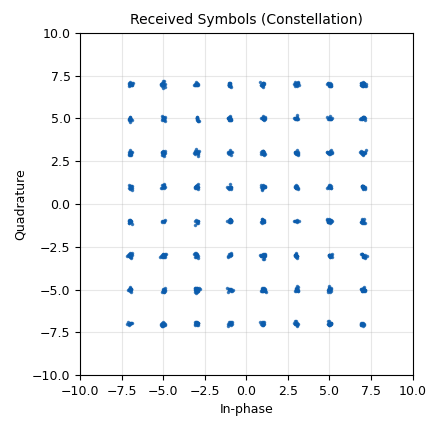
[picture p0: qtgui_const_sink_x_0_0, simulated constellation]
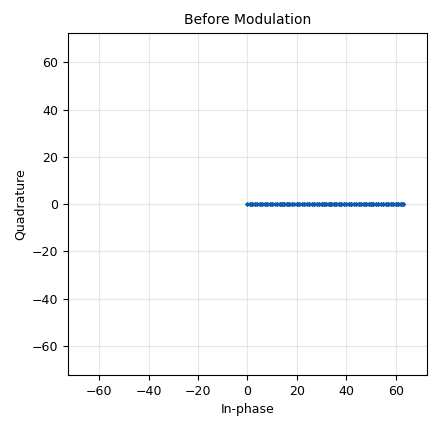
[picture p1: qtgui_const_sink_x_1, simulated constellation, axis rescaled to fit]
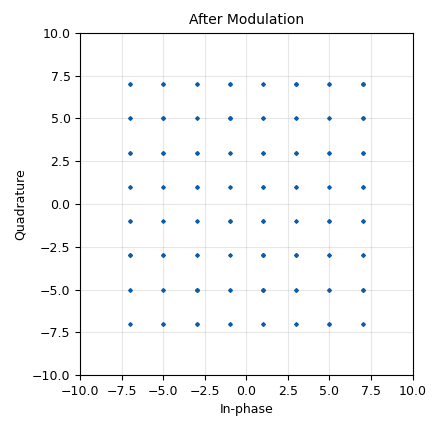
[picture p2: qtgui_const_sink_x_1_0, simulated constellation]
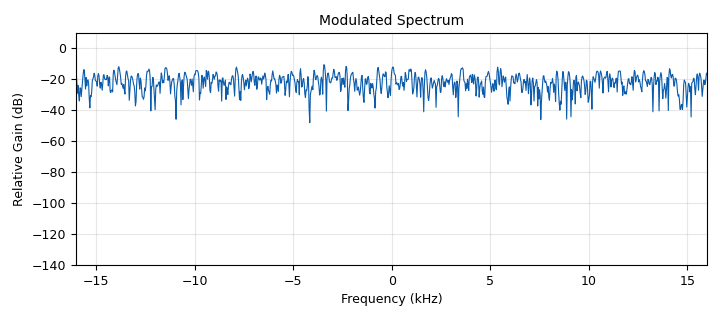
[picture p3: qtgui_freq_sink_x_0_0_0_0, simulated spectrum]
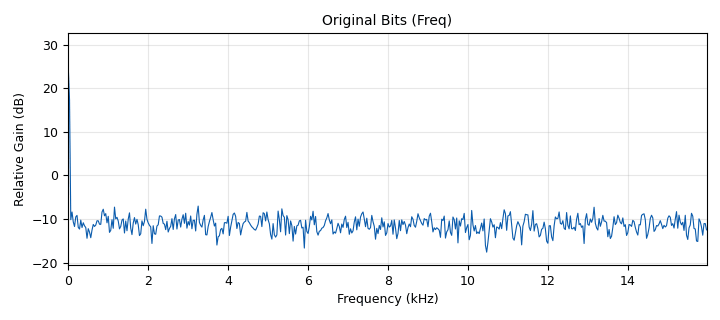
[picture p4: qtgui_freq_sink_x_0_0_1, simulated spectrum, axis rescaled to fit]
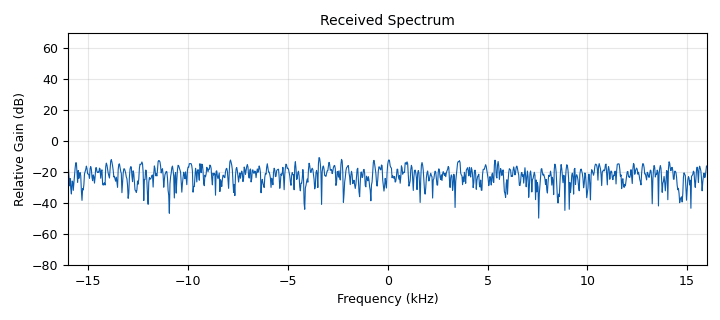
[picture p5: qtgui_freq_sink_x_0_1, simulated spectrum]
options:
  parameters:
    author: mfb36
    generate_options: qt_gui
    id: QAM_64_try_2
    output_language: python
    title: Not titled yet
  states: {}

blocks:
- name: noise_var
  id: variable_qtgui_range
  parameters:
    gui_hint: 0,0,1,6
    label: Noise Level
    start: '0'
    step: '0.01'
    stop: '1'
    value: '0.1'
  states: {}
- name: samp_rate
  id: variable
  parameters:
    value: '32000'
  states: {}
- name: analog_noise_source_x_0_0
  id: analog_noise_source_x
  parameters:
    amp: noise_var
    noise_type: analog.GR_GAUSSIAN
    seed: '0'
    type: complex
  states: {}
- name: analog_random_source_x_0_0
  id: analog_random_source_x
  parameters:
    max: '64'
    min: '0'
    num_samps: '10000'
    repeat: 'True'
    type: byte
  states: {}
- name: blocks_add_xx_0_0
  id: blocks_add_xx
  parameters:
    type: complex
  states: {}
- name: blocks_complex_to_mag_squared_0_0_0
  id: blocks_complex_to_mag_squared
  parameters: {}
  states: {}
- name: blocks_complex_to_mag_squared_0_1
  id: blocks_complex_to_mag_squared
  parameters: {}
  states: {}
- name: blocks_complex_to_real_1
  id: blocks_complex_to_real
  parameters: {}
  states: {state: disabled}
- name: blocks_divide_xx_0_0
  id: blocks_divide_xx
  parameters:
    type: float
  states: {}
- name: blocks_float_to_complex_2_0
  id: blocks_float_to_complex
  parameters: {}
  states: {}
- name: blocks_moving_average_xx_0_0
  id: blocks_moving_average_xx
  parameters:
    length: '1000'
    max_iter: '1'
    scale: '1'
    type: float
  states: {}
- name: blocks_nlog10_ff_0_0
  id: blocks_nlog10_ff
  parameters:
    k: '0'
  states: {}
- name: blocks_throttle2_0_0
  id: blocks_throttle2
  parameters:
    samples_per_second: samp_rate
    type: byte
  states: {}
- name: blocks_uchar_to_float_0_0
  id: blocks_uchar_to_float
  parameters: {}
  states: {state: disabled}
- name: blocks_uchar_to_float_2_0
  id: blocks_uchar_to_float
  parameters: {}
  states: {}
- name: channels_channel_model_0_0
  id: channels_channel_model
  parameters:
    epsilon: '1'
    freq_offset: '0.0'
    noise_voltage: '0'
    seed: '0'
    taps: '1'
  states: {}
- name: digital_binary_slicer_fb_0_0
  id: digital_binary_slicer_fb
  parameters: {}
  states: {state: disabled}
- name: digital_chunks_to_symbols_xx_0_0
  id: digital_chunks_to_symbols_xx
  parameters:
    dimension: '1'
    in_type: byte
    out_type: complex
    symbol_table: |
      [(-7-7j), (-7-5j), (-7-3j), (-7-1j), (-7+1j), (-7+3j), (-7+5j), (-7+7j),
       (-5-7j), (-5-5j), (-5-3j), (-5-1j), (-5+1j), (-5+3j), (-5+5j), (-5+7j),
       (-3-7j), (-3-5j), (-3-3j), (-3-1j), (-3+1j), (-3+3j), (-3+5j), (-3+7j),
       (-1-7j), (-1-5j), (-1-3j), (-1-1j), (-1+1j), (-1+3j), (-1+5j), (-1+7j),
       ( 1-7j), ( 1-5j), ( 1-3j), ( 1-1j), ( 1+1j), ( 1+3j), ( 1+5j), ( 1+7j),
       ( 3-7j), ( 3-5j), ( 3-3j), ( 3-1j), ( 3+1j), ( 3+3j), ( 3+5j), ( 3+7j),
       ( 5-7j), ( 5-5j), ( 5-3j), ( 5-1j), ( 5+1j), ( 5+3j), ( 5+5j), ( 5+7j),
       ( 7-7j), ( 7-5j), ( 7-3j), ( 7-1j), ( 7+1j), ( 7+3j), ( 7+5j), ( 7+7j)]
  states: {}
- name: fec_ber_bf_0_0
  id: fec_ber_bf
  parameters:
    berlimit: '-7'
    test_mode: 'False'
  states: {state: disabled}
- name: probe_rx_0
  id: blocks_probe_signal_x
  parameters:
    type: complex
  states: {}
- name: probe_tx_0
  id: blocks_probe_signal_x
  parameters:
    type: complex
  states: {}
- name: qtgui_const_sink_x_0_0
  id: qtgui_const_sink_x
  parameters:
    gui_hint: 6,4,1,2
    name: Received Symbols (Constellation)
    size: '1024'
    type: complex
    xmax: '10'
    xmin: '-10'
    ymax: '10'
    ymin: '-10'
  states: {}
- name: qtgui_const_sink_x_1
  id: qtgui_const_sink_x
  parameters:
    gui_hint: 8,0,1,3
    name: Before Modulation
    size: '1024'
    type: complex
    xmax: '4'
    xmin: '-4'
  states: {}
- name: qtgui_const_sink_x_1_0
  id: qtgui_const_sink_x
  parameters:
    gui_hint: 8,3,1,3
    name: After Modulation
    size: '1024'
    type: complex
    xmax: '10'
    xmin: '-10'
    ymax: '10'
    ymin: '-10'
  states: {}
- name: qtgui_freq_sink_x_0_0_0_0
  id: qtgui_freq_sink_x
  parameters:
    bw: samp_rate
    fc: '0'
    fftsize: '1024'
    gui_hint: 5,3,1,3
    name: Modulated Spectrum
    type: complex
  states: {}
- name: qtgui_freq_sink_x_0_0_1
  id: qtgui_freq_sink_x
  parameters:
    average: '0.05'
    bw: samp_rate
    fc: '0'
    fftsize: '1024'
    freqhalf: 'False'
    gui_hint: 4,3,1,3
    name: Original Bits (Freq)
    type: float
    wintype: window.WIN_HAMMING
  states: {}
- name: qtgui_freq_sink_x_0_1
  id: qtgui_freq_sink_x
  parameters:
    bw: samp_rate
    fc: '0'
    fftsize: '1024'
    gui_hint: 6,0,1,2
    name: Received Spectrum
    type: complex
    ymax: '70'
    ymin: '-80'
  states: {}
- name: qtgui_freq_sink_x_1
  id: qtgui_freq_sink_x
  parameters:
    bw: samp_rate
    fc: '0'
    fftsize: '1024'
    gui_hint: 10,0,1,3
    name: Demodulated Signal (Freq)
    type: float
  states: {}
- name: qtgui_number_sink_0_0
  id: qtgui_number_sink
  parameters:
    avg: 'True'
    graph_type: qtgui.NUM_GRAPH_HORIZ
    gui_hint: 1,0,1,6
    min: '0'
    name: Bit Error Rate (BER)
    type: float
  states: {}
- name: qtgui_number_sink_1_0
  id: qtgui_number_sink
  parameters:
    autoscale: 'True'
    graph_type: qtgui.NUM_GRAPH_NONE
    gui_hint: 2,0,1,6
    label1: SNR
    max: '10'
    name: SNR
    type: float
    unit1: dB
  states: {}
- name: qtgui_time_sink_x_0_0_0_0_0
  id: qtgui_time_sink_x
  parameters:
    autoscale: 'True'
    gui_hint: 3,0,1,6
    name: BER Output
    size: '1024'
    srate: samp_rate
    type: float
  states: {}
- name: qtgui_time_sink_x_0_0_1
  id: qtgui_time_sink_x
  parameters:
    autoscale: 'True'
    gui_hint: 6,2,1,2
    name: Received Signal
    size: '1024'
    srate: samp_rate
    type: complex
  states: {}
- name: qtgui_time_sink_x_0_1_1
  id: qtgui_time_sink_x
  parameters:
    entags: 'False'
    gui_hint: 12,0,2,6
    label1: Original Signal
    label2: Demodulated Signal
    name: Original Signal vs Demodulated Signal
    nconnections: '2'
    size: '2048'
    srate: samp_rate
    type: float
    ymax: '2'
    ymin: '-0.5'
  states: {}
- name: qtgui_time_sink_x_0_2
  id: qtgui_time_sink_x
  parameters:
    autoscale: 'True'
    entags: 'False'
    gui_hint: 5,0,1,3
    name: BPSK Modulated Signal (Time)
    size: '1024'
    srate: samp_rate
    type: complex
  states: {}
- name: qtgui_time_sink_x_1_0
  id: qtgui_time_sink_x
  parameters:
    autoscale: 'True'
    gui_hint: 10,3,1,3
    name: Received Bits After Detection
    size: '1024'
    srate: samp_rate
    type: float
    ymin: '0'
  states: {}
- name: qtgui_time_sink_x_2_0
  id: qtgui_time_sink_x
  parameters:
    entags: 'False'
    gui_hint: 4,0,1,3
    name: Original Bits (Time)
    size: '1024'
    srate: samp_rate
    type: float
    ymin: '0'
  states: {}
- name: qtgui_waterfall_sink_x_0_0
  id: qtgui_waterfall_sink_x
  parameters:
    bw: samp_rate
    fc: '0'
    fftsize: '1024'
    name: Channel Output (Time/Freq)
    type: complex
  states: {}

connections:
- [analog_noise_source_x_0_0, '0', blocks_add_xx_0_0, '1']
- [analog_noise_source_x_0_0, '0', blocks_complex_to_mag_squared_0_0_0, '0']
- [analog_random_source_x_0_0, '0', blocks_throttle2_0_0, '0']
- [blocks_add_xx_0_0, '0', channels_channel_model_0_0, '0']
- [blocks_complex_to_mag_squared_0_0_0, '0', blocks_divide_xx_0_0, '1']
- [blocks_complex_to_mag_squared_0_1, '0', blocks_divide_xx_0_0, '0']
- [blocks_complex_to_real_1, '0', digital_binary_slicer_fb_0_0, '0']
- [blocks_divide_xx_0_0, '0', blocks_moving_average_xx_0_0, '0']
- [blocks_float_to_complex_2_0, '0', blocks_complex_to_mag_squared_0_1, '0']
- [blocks_float_to_complex_2_0, '0', qtgui_const_sink_x_1, '0']
- [blocks_moving_average_xx_0_0, '0', blocks_nlog10_ff_0_0, '0']
- [blocks_nlog10_ff_0_0, '0', qtgui_number_sink_1_0, '0']
- [blocks_throttle2_0_0, '0', blocks_uchar_to_float_2_0, '0']
- [blocks_throttle2_0_0, '0', digital_chunks_to_symbols_xx_0_0, '0']
- [blocks_throttle2_0_0, '0', fec_ber_bf_0_0, '1']
- [blocks_uchar_to_float_0_0, '0', qtgui_freq_sink_x_1, '0']
- [blocks_uchar_to_float_0_0, '0', qtgui_time_sink_x_0_1_1, '1']
- [blocks_uchar_to_float_0_0, '0', qtgui_time_sink_x_1_0, '0']
- [blocks_uchar_to_float_2_0, '0', blocks_float_to_complex_2_0, '0']
- [blocks_uchar_to_float_2_0, '0', qtgui_freq_sink_x_0_0_1, '0']
- [blocks_uchar_to_float_2_0, '0', qtgui_time_sink_x_0_1_1, '0']
- [blocks_uchar_to_float_2_0, '0', qtgui_time_sink_x_2_0, '0']
- [channels_channel_model_0_0, '0', blocks_complex_to_real_1, '0']
- [channels_channel_model_0_0, '0', probe_rx_0, '0']
- [channels_channel_model_0_0, '0', qtgui_const_sink_x_0_0, '0']
- [channels_channel_model_0_0, '0', qtgui_freq_sink_x_0_1, '0']
- [channels_channel_model_0_0, '0', qtgui_time_sink_x_0_0_1, '0']
- [channels_channel_model_0_0, '0', qtgui_waterfall_sink_x_0_0, '0']
- [digital_binary_slicer_fb_0_0, '0', blocks_uchar_to_float_0_0, '0']
- [digital_binary_slicer_fb_0_0, '0', fec_ber_bf_0_0, '0']
- [digital_chunks_to_symbols_xx_0_0, '0', blocks_add_xx_0_0, '0']
- [digital_chunks_to_symbols_xx_0_0, '0', probe_tx_0, '0']
- [digital_chunks_to_symbols_xx_0_0, '0', qtgui_const_sink_x_1_0, '0']
- [digital_chunks_to_symbols_xx_0_0, '0', qtgui_freq_sink_x_0_0_0_0, '0']
- [digital_chunks_to_symbols_xx_0_0, '0', qtgui_time_sink_x_0_2, '0']
- [fec_ber_bf_0_0, '0', qtgui_number_sink_0_0, '0']
- [fec_ber_bf_0_0, '0', qtgui_time_sink_x_0_0_0_0_0, '0']

metadata:
  file_format: 1
  grc_version: 3.10.12.0
